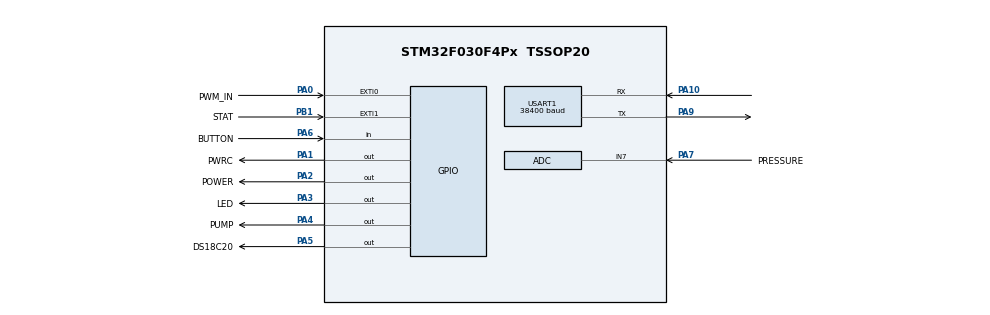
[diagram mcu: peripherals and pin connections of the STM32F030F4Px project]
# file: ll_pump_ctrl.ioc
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Mcu.Family=STM32F0
Dma.ADC.0.Mode=DMA_NORMAL
Dma.USART1_TX.1.MemInc=DMA_MINC_ENABLE
USART1.BaudRate=38400
PA0.GPIO_Label=PWM_IN
Dma.ADC.0.Priority=DMA_PRIORITY_LOW
VP_RTC_VS_RTC_Activate.Mode=RTC_Enabled
PA6.GPIO_Label=BUTTON
PA5.PinState=GPIO_PIN_SET
RCC.SYSCLKSource=RCC_SYSCLKSOURCE_PLLCLK
ProjectManager.StackSize=0x400
RTC.SynchPrediv=399
Dma.ADC.0.PeriphInc=DMA_PINC_DISABLE
RCC.HCLKFreq_Value=48000000
PB1.GPIO_ModeDefaultEXTI=GPIO_MODE_IT_RISING_FALLING
RCC.AHBFreq_Value=48000000
Dma.ADC.0.Direction=DMA_PERIPH_TO_MEMORY
ADC.SamplingTime=ADC_SAMPLETIME_71CYCLES_5
RCC.PLLMUL=RCC_PLL_MUL12
PA6.GPIO_PuPd=GPIO_PULLUP
RTC.Month=RTC_MONTH_DECEMBER
PA14.Mode=Serial_Wire
PB1.GPIO_Label=STAT
RTC.AsynchPrediv=99
Dma.USART1_TX.1.PeriphDataAlignment=DMA_PDATAALIGN_BYTE
PA0.Signal=GPXTI0
Dma.ADC.0.MemInc=DMA_MINC_ENABLE
Mcu.Package=TSSOP20
PB1.Signal=GPXTI1
PA6.Signal=GPIO_Input
PA2.GPIO_Label=POWER
Dma.ADC.0.Instance=DMA1_Channel1
PA10.Signal=USART1_RX
VP_RTC_VS_RTC_Calendar.Mode=RTC_Calendar
Dma.ADC.0.MemDataAlignment=DMA_MDATAALIGN_HALFWORD
TIM16.AutoReloadPreload=TIM_AUTORELOAD_PRELOAD_ENABLE
Dma.Request1=USART1_TX
RCC.APB1TimFreq_Value=48000000
Dma.USART1_TX.1.Priority=DMA_PRIORITY_LOW
TIM16.Prescaler=47
NVIC.USART1_IRQn=true\:0\:0\:false\:false\:true\:true\:true
Dma.Request0=ADC
PA4.GPIO_Label=PUMP
PA3.Signal=GPIO_Output
Dma.USART1_TX.1.Direction=DMA_MEMORY_TO_PERIPH
Dma.USART1_TX.1.Instance=DMA1_Channel2
PA7.Mode=IN7
PA10.Mode=Asynchronous
VP_ADC_Vref_Input.Mode=IN-Vrefint
VP_TIM16_VS_ClockSourceINT.Mode=Enable_Timer
Dma.ADC.0.PeriphDataAlignment=DMA_PDATAALIGN_HALFWORD
USART1.VirtualMode-Asynchronous=VM_ASYNC
PA13.Signal=SYS_SWDIO
PA9.Mode=Asynchronous
ProjectManager.TargetToolchain=Makefile
RTC.Year=20
PA9.Signal=USART1_TX
PA1.Signal=GPIO_Output
PA5.Signal=GPIO_Output
Dma.USART1_TX.1.MemDataAlignment=DMA_MDATAALIGN_BYTE
board=custom
PA5.GPIO_ModeDefaultOutputPP=GPIO_MODE_OUTPUT_OD
PA1.GPIO_Label=PWRC
PA13.Mode=Serial_Wire
Mcu.Name=STM32F030F4Px
PA2.Signal=GPIO_Output
PA4.Signal=GPIO_Output
RCC.SYSCLKFreq_VALUE=48000000
RTC.Hours=12
PA7.GPIO_Label=PRESSURE
PA5.GPIO_Label=DS18C20
Dma.USART1_TX.1.Mode=DMA_NORMAL
PA14.Signal=SYS_SWCLK
ProjectManager.HeapSize=0x200
Dma.USART1_TX.1.PeriphInc=DMA_PINC_DISABLE
PA5.GPIO_Speed=GPIO_SPEED_FREQ_LOW
NVIC.DMA1_Channel2_3_IRQn=true\:0\:0\:false\:false\:true\:false\:true
NVIC.DMA1_Channel1_IRQn=true\:0\:0\:false\:false\:true\:false\:true
RCC.APB1Freq_Value=48000000
RTC.Date=10
PA3.GPIO_Label=LED
PA7.Signal=ADC_IN7
NVIC.EXTI0_1_IRQn=true\:0\:0\:false\:false\:true\:true\:true

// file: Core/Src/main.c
/* USER CODE BEGIN Header */
/**
  ******************************************************************************
  * @file           : main.c
  * @brief          : Main program body
  ******************************************************************************
  * @attention
  *
  * <h2><center>&copy; Copyright (c) 2020 STMicroelectronics.
  * All rights reserved.</center></h2>
  *
  * This software component is licensed by ST under BSD 3-Clause license,
  * the "License"; You may not use this file except in compliance with the
  * License. You may obtain a copy of the License at:
  *                        opensource.org/licenses/BSD-3-Clause
  *
  ******************************************************************************
  */
  /*
    Через BLE передается 5 пакетов:

      Текущее параметры системы:
        "0:M:UD:HHmmSS:VVVV\n"
        - режим, delta_on, delta_off(0..9), текущее время, VREF_CAL(mV)
        "1:IIii:HHMM:hhmm\n"
          - интервал (час., мин.), время начала паузы., время оконч. паузы

      Результаты измерений:
        "2:MM.mm:XX.xx:AA.aa\n"
          - температуры (.mm, .xx, .aa - десятичная часть, надо умножить на 0.25;)
        "3:VVVV:PPP:L:SS:DDD\n"
          - VREF_DATA(mV), давление, наличие блокировки,
            статус(hex), синхронный делитель RTC (399 +-),
        "4:P:HHMMSS:ME:XE:AE\n"
          - насос вкл./выкл, время последнего старта насоса,
           счетчики ошибок датчиков температуры

    Через BLE может приниматься пакет:
    "CCC:SMOD:[01]:HHmm" - режим 0/1 и интервал в часах и минутах для режима 1
    "CCC:NSET:HHMM:hhmm" - установить начало и конец ночной паузы.
    "CCC:LOCK:[012]" - 1 - остановить насос до night_end, 2 - до команды "CCC:LOCK:0"
    "CCC:DIFF:U:D" - установить разницу температур на вкл/выкл. (0..9).
    "CCC:SCLK:DDD" - установить предделитель RTC (399 +-)
    "CCC:TSET:HHmmSS" - установить время
    "CCC:DSET:YYMMDDW" - установить дату
  */
/* USER CODE END Header */
#include "main.h"
#include "flash.h"
#include "rtc.h"

/* USER CODE BEGIN Includes */
#include <stdlib.h>
#include <string.h>
#include <ctype.h>

//#include "ds18b20.h"
#include "ow_utils.h"
#include "rtc.h"
#include "flash.h"

/* USER CODE END Includes */

/* USER CODE BEGIN PD */
/*
JDY-16: CR, LF
JDY-08: no CR no LF
*/
//#define JDY08 1
#define JDY16   1

#define NUM_STAT_PACKS  5

//#define DEBUG_SET_SENSORS 1
//#define DEBUG_TEST_OUTPUT 1
//#define DEBUG_SET_BAUD    1

#define PUMP_ON()    LL_GPIO_SetOutputPin(PUMP_GPIO_Port, PUMP_Pin)
#define PUMP_OFF()   LL_GPIO_ResetOutputPin(PUMP_GPIO_Port, PUMP_Pin)

/* USER CODE END PD */

/* USER CODE BEGIN PV */

static uint8_t transmit = 0;
static uint8_t rxindex = 0;
static uint8_t flag_cmd = 0;
static uint8_t ble_connected = 0;
static uint8_t adc_scan_complete = 0;
static uint16_t pwm_count = 0;

char info_pack[NUM_STAT_PACKS][PACK_SZ] = { {0}, {0}, {0}, {0}, {0} };
char sndbuf[PACK_SZ];
char rxbuff[PACK_SZ * 2];
char cmdbuf[PACK_SZ];
uint16_t adc_buff[2];

myDevState dev_state =
  { .celsius_main = 0, .frac_main = 0, .err_curr_main = 0, .err_summ_main = 0,
    .celsius_aux = 0, .frac_aux = 0, .err_curr_aux = 0, .err_summ_aux = 0,
    .celsius_air = 0, .frac_air = 0, .err_curr_air = 0, .err_summ_air = 0,
    .pressure = 0, .vref_data = 0, .state = 0,
    .hour_last_start = 99, .minute_last_start = 0, .second_last_start = 0,
    .night = 0, .pump = 0 };

myDevSettings dev_settings =
  { .signature = CODES_SIGNATURE, .mode = 0,
    .interval_h = 3, .interval_m = 0,
    .delta_on = DELTA_ON, .delta_off = DELTA_OFF,
    .hour_off_begin = 23, .minute_off_begin = 15,
    .hour_off_end = 7, .minute_off_end = 15,
    .pump_lock = 0, .prescaler = 399, .reserv8_1 = 0x55, .reserv8_2 = 0xaa };

static uint32_t initHours = 12;
static uint32_t initMinutes = 0;
static uint32_t initSeconds = 0;

#define ADC_REPEAT_COUNT 6 // кол-во измерений
static uint16_t a_press[ADC_REPEAT_COUNT];
static uint16_t a_vref[ADC_REPEAT_COUNT];
static SensorData sens;

/* USER CODE END PV */

void SystemClock_Config(void);
static void MX_GPIO_Init(void);
static void MX_DMA_Init(void);
static void MX_ADC_Init(void);
static void MX_TIM16_Init(void);
static void MX_USART1_UART_Init(void);
static void MX_RTC_Init(void);
/* USER CODE BEGIN PFP */

void adc_dma_set(void);
void usart_dma_send(char *st);
uint16_t calc_mid(uint16_t * par, uint8_t plen);
uint8_t make_pack(uint8_t pack_num);
uint8_t calc_temp_frac(uint8_t frac);
void led_blink(uint8_t cnt);
void test_output(void);

/* USER CODE END PFP */

/* USER CODE BEGIN 0 */
// Команды BLE JDY-16
#ifdef JDY16
const char ble_baud[] = "AT+BAUD6\r\n"; // 38400
const char ble_name[] = "AT+NAMEPUMP-EAST\r\n";
const char ble_dis[]  = "AT+DISC\r\n";
#else
// JDY08
const char ble_baud[] = "AT+BOUD2"; // 38400
const char ble_name[] = "AT+NAMEPUMP-WEST";
const char ble_dis[]  = "AT+DISC";
#endif

const char cmd_smod[] = "SMOD";
const char cmd_nset[] = "NSET";
const char cmd_lock[] = "LOCK";
const char cmd_diff[] = "DIFF";
const char cmd_tset[] = "TSET";
const char cmd_dset[] = "DSET";
const char cmd_sclk[] = "SCLK";

const char c_delim[]  = ":";
const char c_lf[]  = "\n";
const char c_dot[]  = ".";

/* USER CODE END 0 */

int main(void)
{

  /* MCU Configuration--------------------------------------------------------*/

  /* Reset of all peripherals, Initializes the Flash interface and the Systick. */

  LL_APB1_GRP2_EnableClock(LL_APB1_GRP2_PERIPH_SYSCFG);
  LL_APB1_GRP1_EnableClock(LL_APB1_GRP1_PERIPH_PWR);

  /* System interrupt init*/

  /* Configure the system clock */
  SystemClock_Config();

  /* USER CODE BEGIN SysInit */
    // !!! trick to enable systick interrupt !!!
  CLEAR_BIT(SysTick->CTRL,SysTick_CTRL_TICKINT_Msk); // HAL_SuspendTick()
  LL_Init1msTick(48000000);
  SET_BIT(SysTick->CTRL,SysTick_CTRL_TICKINT_Msk);  // HAL_ResumeTick()

  // ?????? RCC_APB2ENR |=RCC_APB2ENR_SYSCFGCOMPEN; // тактирование SYSCFG
  /* USER CODE END SysInit */

  /* Initialize all configured peripherals */
  MX_GPIO_Init();
  MX_DMA_Init();
  MX_ADC_Init();
  MX_TIM16_Init();
  MX_USART1_UART_Init();
  // MX_RTC_Init();
  /* USER CODE BEGIN 2 */

  uint8_t fl_set = 0; // надо ли сохранять настройки во флеш

  LL_ADC_Enable(ADC1);

  LL_USART_DisableIT_RXNE(USART1);

  for (uint8_t j = 0; j < 5; j++)
  {
    LL_GPIO_SetOutputPin(LED_GPIO_Port, LED_Pin);
    for (uint16_t i = 0; i < 500; i++)
    {
      delay_us(1000);
    }
    LL_GPIO_ResetOutputPin(LED_GPIO_Port, LED_Pin);
    for (uint16_t i = 0; i < 500; i++)
    {
      delay_us(1000);
    }
  }

#ifdef DEBUG_SET_BAUD
  LL_GPIO_ResetOutputPin(PWRC_GPIO_Port, PWRC_Pin); // PWRC=0 - AT mode
  delay(500);
//  strcpy(sndbuf, ble_baud);
  strcpy(sndbuf, ble_name);
  usart_dma_send(sndbuf);
  delay(500);
#endif

  LL_GPIO_SetOutputPin(PWRC_GPIO_Port, PWRC_Pin); // PWRC=1

  LL_EXTI_EnableIT_0_31(LL_EXTI_LINE_1);

  LL_GPIO_SetOutputPin(POWER_GPIO_Port, POWER_Pin); // питание датчиков

#ifdef DEBUG_SET_SENSORS
  // set tH as sensor number 80,81,...
  if (OWFirst())
  {
    sens.tH = 80;
    sens.tL = 5;
    sens.config = 0x3f;
    do
    {
      //DS1820_write_EEPROM(&sens);
      OWWriteEEPROM(&sens);
      sens.tH++;
    } while (OWNext());
  }
#endif

  // читаем сохраненные параметры из флеш памяти
  uint32_t src_addr = (uint32_t)PARAMETERS_PAGE;
  uint16_t *dst_addr = (void *)&dev_settings;
  uint16_t sign = *(__IO uint16_t *)src_addr;
  if (sign == CODES_SIGNATURE)
  {
    for (uint16_t i = 0; i < (sizeof(myDevSettings) / 2 - 1); i++)
    {
      *dst_addr = *(__IO uint16_t *)src_addr;
      src_addr += 2;
      dst_addr++;
    }
  }
  else
  {
    fl_set = 1;
  }

  MX_RTC_Init();

  // постоянную блокировку оставляеем, временную сбрасываем
  if (dev_settings.pump_lock == 1)
  {
    dev_settings.pump_lock = 0;
    dev_state.state &= ~STAT_PROGRAN_LOCK;
    fl_set = 1;
  }
  else if (dev_settings.pump_lock == 2)
  {
    dev_state.state |= STAT_PROGRAN_LOCK;
  }

  // текущие параметры системы
  make_pack(0);
  make_pack(1);
  make_pack(2);
  make_pack(3);
  make_pack(4);

  /* USER CODE END 2 */

  /* Infinite loop */
  /* USER CODE BEGIN WHILE */
  while (1)
  {
    LL_GPIO_SetOutputPin(LED_GPIO_Port, LED_Pin); // начало измерений

    // Устанавливаем в статус отсутствие отклика от DS18B20
    dev_state.state |= (STAT_SENSOR_MAIN_ERR | STAT_SENSOR_AUX_ERR | STAT_SENSOR_AIR_ERR);
    if (OWFirst())
    {
      do
      {
        if (OWGetParams(MATCH_ROM_CMD, &sens))
        {
#ifdef DEBUG_TEST_OUTPUT
          test_output();
#endif
          if (sens.crc == sens.crc_calc) // КС совпала
          {
            switch(sens.tH)
            {
              case DS_BATT_MAIN:
                dev_state.celsius_main = sens.celsius;
                dev_state.frac_main = sens.frac;
                // обнуляем текущий счетчик ошибок
                dev_state.err_curr_main = 0;
                // есть отклик - снимаем ошибку в статусе
                dev_state.state &= ~STAT_SENSOR_MAIN_ERR;
                break;
              case DS_BATT_AUX:
                dev_state.celsius_aux = sens.celsius;
                dev_state.frac_aux = sens.frac;
                dev_state.err_curr_aux = 0;
                dev_state.state &= ~STAT_SENSOR_AUX_ERR;
                break;
              case DS_AIR:
                dev_state.celsius_air = sens.celsius;
                dev_state.frac_air = sens.frac;
                dev_state.err_curr_air = 0;
                dev_state.state &= ~STAT_SENSOR_AIR_ERR;
                break;
            }
          }
        }
      } while (OWNext());
    } // сканирование DS18B20 завершено

    // если какой-либо DS18B20 не ответил увеличиваем счетчики ошибок
    if (dev_state.state & STAT_SENSOR_MAIN_ERR)
    {
      dev_state.err_curr_main++;
      if (dev_state.err_summ_main < 99)
      {
        dev_state.err_summ_main++;
      }
    }
    if (dev_state.state & STAT_SENSOR_AUX_ERR)
    {
      dev_state.err_curr_aux++;
      if (dev_state.err_summ_aux < 99)
      {
        dev_state.err_summ_aux++;
      }
    }
    if (dev_state.state & STAT_SENSOR_AIR_ERR)
    {
      dev_state.err_curr_air++;
      if (dev_state.err_summ_air < 99)
      {
        dev_state.err_summ_air++;
      }
    }

    if (dev_state.state &
      (STAT_SENSOR_MAIN_ERR | STAT_SENSOR_AUX_ERR | STAT_SENSOR_AIR_ERR))
    {
      dev_state.state |= STAT_SENSORS_ERR;
    }
    else
    {
      dev_state.state &= ~STAT_SENSORS_ERR;
    }

    // ADC - опрос датчика давления и VREF
    for (uint8_t i = 0; i < ADC_REPEAT_COUNT; i++)
    {
      adc_dma_set();
      LL_ADC_REG_StartConversion(ADC1);
      while(!adc_scan_complete)
      {
        delay(5);
      }
      a_press[i] = adc_buff[0];
      a_vref[i] = adc_buff[1];
    }
    uint16_t vref_data = calc_mid(a_vref, ADC_REPEAT_COUNT);
    dev_state.vref_data = vref_data;
    uint16_t vref_mv = __LL_ADC_CALC_VREFANALOG_VOLTAGE(vref_data, LL_ADC_RESOLUTION_12B);
    uint16_t press_data = calc_mid(a_press, ADC_REPEAT_COUNT);
    dev_state.pressure =
        __LL_ADC_CALC_DATA_TO_VOLTAGE(vref_mv, press_data, LL_ADC_RESOLUTION_12B);

    LL_GPIO_ResetOutputPin(LED_GPIO_Port, LED_Pin); // конец измерений

    // Обработка езультатов измерений

    // оба датчика батарей выдали результаты?
    if ((dev_state.err_curr_main == 0) && (dev_state.err_curr_main == 0))
    {
      make_pack(2);
    }
    else // датчики батарей не ответили
    {
      if ((dev_state.err_curr_main > 2) || (dev_state.err_curr_aux > 2))
      {
        // датчики батарей не ответили больше 2-х раз подряд
        // отключаем насос
        PUMP_OFF();
        dev_state.pump = 0;
      }
    }

    // Проверяем изменения в системе
    // определяем переключение день/ночь
    uint8_t c_hour = (uint8_t)__LL_RTC_CONVERT_BCD2BIN(LL_RTC_TIME_GetHour(RTC));
    uint8_t c_min = (uint8_t)__LL_RTC_CONVERT_BCD2BIN(LL_RTC_TIME_GetMinute(RTC));
    uint8_t c_sec = (uint8_t)__LL_RTC_CONVERT_BCD2BIN(LL_RTC_TIME_GetSecond(RTC));

    if (dev_state.night == 0) // сейчас день
    {
      if ((c_hour >= dev_settings.hour_off_begin) &&
          (c_min >= dev_settings.minute_off_begin))
      {
        // перход в ночной режим
        dev_state.night = 1;
        dev_state.state |= STAT_NIGHT;
      }
    }
    else // сейчас ночь
    {
      if ((c_hour == dev_settings.hour_off_end) &&
        (c_min >= dev_settings.minute_off_end))
      {
        // окончание ночного режима по расписанию,
        dev_state.night = 0;
        dev_state.state &= ~STAT_NIGHT;
      }
    }

    // Действия в зависимости от результата (день/ночь)
    if (dev_state.night) // ночь
    {
      if (dev_state.pump)
      {
        PUMP_OFF();
        dev_state.pump = 0;
      }
      if (dev_settings.pump_lock == 1)
      {
        // при наступлении ночи блокировка типа 1 снимается
        dev_settings.pump_lock = 0;
        dev_state.state &= ~STAT_PROGRAN_LOCK;
        fl_set = 1;
      }
    }
    else // день
    {
      // проверяем условия включения/выключения насоса
      int16_t delta = dev_state.celsius_main - dev_state.celsius_aux;
      int16_t delta_f = dev_state.frac_main - dev_state.frac_aux;
      if (delta_f >= 8)
      {
        delta += 1;
      }
      else if (delta_f <= -8)
      {
        delta -= 1;
      }

      if (dev_state.pump) // насос включен
      {
        if ((dev_settings.pump_lock > 0 ) || (delta <= dev_settings.delta_off))
        {
          // при блокировке или
          // при выравнивании температур батарей - выключаем
          PUMP_OFF();
          dev_state.pump = 0;
        }
      }
      else // насос не включен
      {
        if (dev_settings.pump_lock == 0) // включаем только при отсутствии блокировки
        {
          if (dev_settings.mode == 0) // - по разности температур
          {
            if (delta >= dev_settings.delta_on)
            {
              dev_state.hour_last_start = c_hour;
              dev_state.minute_last_start = c_min;
              dev_state.second_last_start = c_sec;
              PUMP_ON();
              dev_state.pump = 1;
            }
          }
          else // mode == 1 - по расписанию
          {
            if (dev_state.hour_last_start == 99)
            {
              // еще не включался, время последнего запуска не установлено
              dev_state.hour_last_start = c_hour;
              dev_state.minute_last_start = c_min;
              dev_state.second_last_start = c_sec;
              PUMP_ON();
              dev_state.pump = 1;
            }
            else
            {
              // уже был запуск по расписанию
              int16_t h = c_hour - dev_state.hour_last_start;
              if (h < 0)
              {
                h = c_hour + 24 - dev_state.hour_last_start;
              }
              int16_t m = c_min - dev_state.minute_last_start;
              if (m < 0)
              {
                m = c_min + 60 - dev_state.minute_last_start;
              }

              if ((h >= dev_settings.interval_h) && (m >= dev_settings.interval_m))
              {
                // включаем по расписанию
                dev_state.hour_last_start = c_hour;
                dev_state.minute_last_start = c_min;
                dev_state.second_last_start = c_sec;
                PUMP_ON();
                dev_state.pump = 1;
              }
            }
          } // по расписанию
        } // dev_settings.pump_lock == 0
      } // не был включен
    } // день/ночь

    // остальные измерения
    make_pack(3);
    // ошибки bs18b20
    make_pack(4);

    delay(200);
    if (dev_settings.pump_lock == 2)
    {
      led_blink(2);
    }
    else if (dev_settings.pump_lock == 1)
    {
      led_blink(1);
    }

    // пауза до 10 сек с проверкой поступления команды и нажатия кнопки
    uint8_t wcnt = 50; // 10 сек
    uint8_t btn_lock = 0;

    if (ble_connected)
    {
      wcnt = 10; // сокращаем паузу до 2 сек
    }
    while (!flag_cmd && !btn_lock && (wcnt-- > 0))
    {
      if (!LL_GPIO_IsInputPinSet(BUTTON_GPIO_Port, BUTTON_Pin))
      {
        btn_lock = 1;
      }
      delay(200);
    }

    if (btn_lock) // было нажатие кнопки?
    {
      // по нажатию кнопки - блокировка/разблокировка насоса
      if (dev_settings.pump_lock == 2)
      {
        dev_settings.pump_lock = 0;
        dev_state.state &= ~STAT_PROGRAN_LOCK;
      }
      else
      {
        dev_settings.pump_lock = 2;
        dev_state.state |= STAT_PROGRAN_LOCK;
      }
      fl_set = 1;
      btn_lock = 0;
      delay(1000);
    }

    if (flag_cmd) // получен пакет из BLE
    {
      char *token, *ptr;
      char strt[24];
      char st1[4];

      uint8_t ii = 0;
      while ((cmdbuf[ii] != '\0') && (cmdbuf[ii] != '\n')
        && (cmdbuf[ii] != '\r') && (ii < 24) )
      {
        strt[ii] = toupper(cmdbuf[ii]); // копируем с переводом в верхний регистр
        ii++;
      }
      strt[ii] = '\0';

      ptr = strt;
      uint8_t cmd_num = 0;

      token = strsep(&ptr, ":");
      if ( (token != NULL) && (strstr(token, "CC") != NULL))  // есть команда
      {
        token = strsep(&ptr, ":");  // команда
        if (token != NULL)
        {
          if (strcmp(token, cmd_smod) == 0)
          {
            cmd_num = 1;
          }
          else if (strcmp(token, cmd_nset) == 0)
          {
            cmd_num = 2;
          }
          else if (strcmp(token, cmd_lock) == 0)
          {
            cmd_num = 3;
          }
          else if (strcmp(token, cmd_diff) == 0)
          {
            cmd_num = 4;
          }
          else if (strcmp(token, cmd_tset) == 0)
          {
            cmd_num = 5;
          }
          else if (strcmp(token, cmd_dset) == 0)
          {
            cmd_num = 6;
          }
          else if (strcmp(token, cmd_sclk) == 0)
          {
            cmd_num = 7;
          }

          uint8_t par = 0;
          uint16_t par16 = 0;

          if (cmd_num > 0)
          {
            token = strsep(&ptr, ":"); // 1-й параметр
            if (token != NULL)
            {
              switch(cmd_num)
              {
              case 1: // "CCC:SMOD:[01]:HHmm"
                par = atoi(token); // 0, 1
                if (par == 0) // при par == 0 2-й параметр не нужен
                {
                  if (dev_settings.mode > 0)
                  {
                    dev_settings.mode = par;
                    fl_set = 1;
                  }
                }
                else if (par == 1)
                {
                  token = strsep(&ptr, ":"); // 2-й параметр - интервал(HHmm)
                  if ((token != NULL) && (strlen(token) == 4))
                  {
                    strncpy(st1, token, 2);
                    st1[2] = '\0';
                    dev_settings.interval_h = atoi(st1);
                    strncpy(st1, &token[2], 2);
                    st1[2] = '\0';
                    dev_settings.interval_m = atoi(st1);
                    dev_settings.mode = par;
                    fl_set = 1;
                  }
                }
                break;
              case 2: // "CCC:NSET:HHMM:hhmm"
                if ((strlen(token) == 4))
                {
                  strncpy(st1, token, 2); // 1-й параметр(HHMM)
                  st1[2] = '\0';
                  dev_settings.hour_off_begin = atoi(st1);
                  strncpy(st1, &token[2], 2);
                  st1[2] = '\0';
                  dev_settings.minute_off_begin = atoi(st1);
                }
                token = strsep(&ptr, ":");
                if ((token != NULL) && (strlen(token) == 4))
                {
                  strncpy(st1, token, 2); // 2-й параметр(hhmm)
                  st1[2] = '\0';
                  dev_settings.hour_off_end = atoi(st1);
                  strncpy(st1, &token[2], 2);
                  st1[2] = '\0';
                  dev_settings.minute_off_end = atoi(st1);
                }
                fl_set = 1;
                break;
              case 3: // "CCC:LOCK:[012]"
                par = atoi(token);
                if (par < 3)
                {
                  dev_settings.pump_lock = par;
                  dev_state.state &= ~STAT_PROGRAN_LOCK;
                  if (par == 1)
                  {
                    dev_state.state |= STAT_PROGRAN_LOCK;
                  }
                  else if (par == 2)
                  {
                    dev_state.state |= STAT_PROGRAN_LOCK;
                  }
                  fl_set = 1;
                }
                break;
              case 4: // "CCC:DIFF:U:D"
                par = atoi(token);
                if ((par > 0) && (par <= 9))  // 1..9 градусов
                {
                  dev_settings.delta_on = par;
                }
                token = strsep(&ptr, ":");
                if (token != NULL)
                {
                  par = atoi(token);
                  if ((par > 0) && (par <= 9))  // 1..9 градусов
                  {
                    dev_settings.delta_off = par;
                  }
                }
                fl_set = 1;
                break;
              case 5: // "CCC:TSET:HHmmSS"
                if (strlen(token) == 6)
                {
                  RTC_set_time_from_st(token);
                }
                // заодно обнуляем счетчики ошибок
                dev_state.err_summ_main = 0;
                dev_state.err_summ_aux = 0;
                dev_state.err_summ_air = 0;
                break;
              case 6: // "CCC:DSET:YYMMDDW" - дата пока не нужна
                if (strlen(token) == 7)
                {
                  RTS_set_date_from_st(token);
                }
                break;
              case 7: // "CCC:SCLK:DDD"
                par16 = atoi(token);
                if ((par16 >= 360) && (par16 <= 440))
                {
                  initHours = LL_RTC_TIME_GetHour(RTC);
                  initMinutes = LL_RTC_TIME_GetMinute(RTC);
                  initSeconds = LL_RTC_TIME_GetSecond(RTC);
                  dev_settings.prescaler = (uint32_t)par16;
                  MX_RTC_Init();
                  fl_set = 1;
                }
                break;
              }
            }
          }
        }
      }
      flag_cmd = 0;
    } // конец обработки команды

    if (fl_set) // сохранять параметры
    {
      save_parameters_to_flash((uint16_t *)&dev_settings,
        sizeof(myDevSettings) / 2 - 1);
      make_pack(1);
      fl_set = 0;
    }

    make_pack(0);

    while(transmit) {};
    uint8_t np = 0;
    while (ble_connected && (np < NUM_STAT_PACKS))
    {
      strcpy(sndbuf, info_pack[np++]);
      usart_dma_send(sndbuf);
      delay(200);
      while(transmit) {};
    }

    /* USER CODE END WHILE */

  }
}

void SystemClock_Config(void)
{
  LL_FLASH_SetLatency(LL_FLASH_LATENCY_1);
  while(LL_FLASH_GetLatency() != LL_FLASH_LATENCY_1)
  {
  }
  LL_RCC_HSI_Enable();

   /* Wait till HSI is ready */
  while(LL_RCC_HSI_IsReady() != 1)
  {

  }
  LL_RCC_HSI_SetCalibTrimming(16);
  LL_RCC_HSI14_Enable();

   /* Wait till HSI14 is ready */
  while(LL_RCC_HSI14_IsReady() != 1)
  {

  }
  LL_RCC_HSI14_SetCalibTrimming(16);
  LL_RCC_LSI_Enable();

   /* Wait till LSI is ready */
  while(LL_RCC_LSI_IsReady() != 1)
  {

  }
  LL_PWR_EnableBkUpAccess();
  if(LL_RCC_GetRTCClockSource() != LL_RCC_RTC_CLKSOURCE_LSI)
  {
    LL_RCC_ForceBackupDomainReset();
    LL_RCC_ReleaseBackupDomainReset();
    LL_RCC_SetRTCClockSource(LL_RCC_RTC_CLKSOURCE_LSI);
  }
  LL_RCC_EnableRTC();
  LL_RCC_PLL_ConfigDomain_SYS(LL_RCC_PLLSOURCE_HSI_DIV_2, LL_RCC_PLL_MUL_12);
  LL_RCC_PLL_Enable();

   /* Wait till PLL is ready */
  while(LL_RCC_PLL_IsReady() != 1)
  {

  }
  LL_RCC_SetAHBPrescaler(LL_RCC_SYSCLK_DIV_1);
  LL_RCC_SetAPB1Prescaler(LL_RCC_APB1_DIV_1);
  LL_RCC_SetSysClkSource(LL_RCC_SYS_CLKSOURCE_PLL);

   /* Wait till System clock is ready */
  while(LL_RCC_GetSysClkSource() != LL_RCC_SYS_CLKSOURCE_STATUS_PLL)
  {

  }
  LL_Init1msTick(48000000);
  LL_SetSystemCoreClock(48000000);
  LL_RCC_HSI14_EnableADCControl();
  LL_RCC_SetUSARTClockSource(LL_RCC_USART1_CLKSOURCE_PCLK1);
}

static void MX_ADC_Init(void)
{

  LL_ADC_InitTypeDef ADC_InitStruct = {0};
  LL_ADC_REG_InitTypeDef ADC_REG_InitStruct = {0};

  LL_GPIO_InitTypeDef GPIO_InitStruct = {0};

  /* Peripheral clock enable */
  LL_APB1_GRP2_EnableClock(LL_APB1_GRP2_PERIPH_ADC1);

  LL_AHB1_GRP1_EnableClock(LL_AHB1_GRP1_PERIPH_GPIOA);
  /**ADC GPIO Configuration
  PA7   ------> ADC_IN7
  */
  GPIO_InitStruct.Pin = PRESSURE_Pin;
  GPIO_InitStruct.Mode = LL_GPIO_MODE_ANALOG;
  GPIO_InitStruct.Pull = LL_GPIO_PULL_NO;
  LL_GPIO_Init(PRESSURE_GPIO_Port, &GPIO_InitStruct);

  /* ADC DMA Init */

  /* ADC Init */
  LL_DMA_SetDataTransferDirection(DMA1, LL_DMA_CHANNEL_1, LL_DMA_DIRECTION_PERIPH_TO_MEMORY);

  LL_DMA_SetChannelPriorityLevel(DMA1, LL_DMA_CHANNEL_1, LL_DMA_PRIORITY_LOW);

  LL_DMA_SetMode(DMA1, LL_DMA_CHANNEL_1, LL_DMA_MODE_NORMAL);

  LL_DMA_SetPeriphIncMode(DMA1, LL_DMA_CHANNEL_1, LL_DMA_PERIPH_NOINCREMENT);

  LL_DMA_SetMemoryIncMode(DMA1, LL_DMA_CHANNEL_1, LL_DMA_MEMORY_INCREMENT);

  LL_DMA_SetPeriphSize(DMA1, LL_DMA_CHANNEL_1, LL_DMA_PDATAALIGN_HALFWORD);

  LL_DMA_SetMemorySize(DMA1, LL_DMA_CHANNEL_1, LL_DMA_MDATAALIGN_HALFWORD);

  /** Configure Regular Channel
  */
  LL_ADC_REG_SetSequencerChAdd(ADC1, LL_ADC_CHANNEL_7);
  /** Configure Regular Channel
  */
  LL_ADC_REG_SetSequencerChAdd(ADC1, LL_ADC_CHANNEL_VREFINT);
  /** Configure Internal Channel
  */
  LL_ADC_SetCommonPathInternalCh(__LL_ADC_COMMON_INSTANCE(ADC1), LL_ADC_PATH_INTERNAL_VREFINT);
  /** Configure the global features of the ADC (Clock, Resolution, Data Alignment and number of conversion)
  */
  ADC_InitStruct.Clock = LL_ADC_CLOCK_ASYNC;
  ADC_InitStruct.Resolution = LL_ADC_RESOLUTION_12B;
  ADC_InitStruct.DataAlignment = LL_ADC_DATA_ALIGN_RIGHT;
  ADC_InitStruct.LowPowerMode = LL_ADC_LP_MODE_NONE;
  LL_ADC_Init(ADC1, &ADC_InitStruct);
  ADC_REG_InitStruct.TriggerSource = LL_ADC_REG_TRIG_SOFTWARE;
  ADC_REG_InitStruct.SequencerDiscont = LL_ADC_REG_SEQ_DISCONT_DISABLE;
  ADC_REG_InitStruct.ContinuousMode = LL_ADC_REG_CONV_SINGLE;
  ADC_REG_InitStruct.DMATransfer = LL_ADC_REG_DMA_TRANSFER_LIMITED;
  ADC_REG_InitStruct.Overrun = LL_ADC_REG_OVR_DATA_PRESERVED;
  LL_ADC_REG_Init(ADC1, &ADC_REG_InitStruct);
  LL_ADC_REG_SetSequencerScanDirection(ADC1, LL_ADC_REG_SEQ_SCAN_DIR_FORWARD);
  LL_ADC_SetSamplingTimeCommonChannels(ADC1, LL_ADC_SAMPLINGTIME_71CYCLES_5);
  /* USER CODE BEGIN ADC_Init 2 */

  uint32_t wait_loop_index = ((LL_ADC_DELAY_CALIB_ENABLE_ADC_CYCLES * 32) >> 1);
  while(wait_loop_index != 0)
  {
    wait_loop_index--;
  }
  LL_ADC_StartCalibration(ADC1);
  while (LL_ADC_IsCalibrationOnGoing(ADC1) != 0) {}

  /* USER CODE END ADC_Init 2 */

}

static void MX_RTC_Init(void)
{

  LL_RTC_InitTypeDef RTC_InitStruct = {0};
  LL_RTC_TimeTypeDef RTC_TimeStruct = {0};
  LL_RTC_DateTypeDef RTC_DateStruct = {0};

  /* Peripheral clock enable */
  LL_RCC_EnableRTC();

  /** Initialize RTC and set the Time and Date
  */
  RTC_InitStruct.HourFormat = LL_RTC_HOURFORMAT_24HOUR;
  RTC_InitStruct.AsynchPrescaler = 99;
  RTC_InitStruct.SynchPrescaler = dev_settings.prescaler; // 399 - default
  LL_RTC_Init(RTC, &RTC_InitStruct);
  LL_RTC_SetAsynchPrescaler(RTC, 99);
  LL_RTC_SetSynchPrescaler(RTC, dev_settings.prescaler); // 399 - default
  /** Initialize RTC and set the Time and Date
  */
  RTC_TimeStruct.Hours = initHours;
  RTC_TimeStruct.Minutes = initMinutes;
  RTC_TimeStruct.Seconds = initSeconds;
  LL_RTC_TIME_Init(RTC, LL_RTC_FORMAT_BCD, &RTC_TimeStruct);
  RTC_DateStruct.WeekDay = LL_RTC_WEEKDAY_MONDAY;
  RTC_DateStruct.Month = LL_RTC_MONTH_DECEMBER;
  RTC_DateStruct.Year = 20;
  LL_RTC_DATE_Init(RTC, LL_RTC_FORMAT_BCD, &RTC_DateStruct);

}

static void MX_TIM16_Init(void)
{

  LL_TIM_InitTypeDef TIM_InitStruct = {0};

  /* Peripheral clock enable */
  LL_APB1_GRP2_EnableClock(LL_APB1_GRP2_PERIPH_TIM16);

  TIM_InitStruct.Prescaler = 47;
  TIM_InitStruct.CounterMode = LL_TIM_COUNTERMODE_UP;
  TIM_InitStruct.Autoreload = 65535;
  TIM_InitStruct.ClockDivision = LL_TIM_CLOCKDIVISION_DIV1;
  TIM_InitStruct.RepetitionCounter = 0;
  LL_TIM_Init(TIM16, &TIM_InitStruct);
  LL_TIM_EnableARRPreload(TIM16);

}

static void MX_USART1_UART_Init(void)
{

  LL_USART_InitTypeDef USART_InitStruct = {0};

  LL_GPIO_InitTypeDef GPIO_InitStruct = {0};

  /* Peripheral clock enable */
  LL_APB1_GRP2_EnableClock(LL_APB1_GRP2_PERIPH_USART1);

  LL_AHB1_GRP1_EnableClock(LL_AHB1_GRP1_PERIPH_GPIOA);
  /**USART1 GPIO Configuration
  PA9   ------> USART1_TX
  PA10   ------> USART1_RX
  */
  GPIO_InitStruct.Pin = LL_GPIO_PIN_9;
  GPIO_InitStruct.Mode = LL_GPIO_MODE_ALTERNATE;
  GPIO_InitStruct.Speed = LL_GPIO_SPEED_FREQ_HIGH;
  GPIO_InitStruct.OutputType = LL_GPIO_OUTPUT_PUSHPULL;
  GPIO_InitStruct.Pull = LL_GPIO_PULL_NO;
  GPIO_InitStruct.Alternate = LL_GPIO_AF_1;
  LL_GPIO_Init(GPIOA, &GPIO_InitStruct);

  GPIO_InitStruct.Pin = LL_GPIO_PIN_10;
  GPIO_InitStruct.Mode = LL_GPIO_MODE_ALTERNATE;
  GPIO_InitStruct.Speed = LL_GPIO_SPEED_FREQ_HIGH;
  GPIO_InitStruct.OutputType = LL_GPIO_OUTPUT_PUSHPULL;
  GPIO_InitStruct.Pull = LL_GPIO_PULL_NO;
  GPIO_InitStruct.Alternate = LL_GPIO_AF_1;
  LL_GPIO_Init(GPIOA, &GPIO_InitStruct);

  /* USART1 DMA Init */

  /* USART1_TX Init */
  LL_DMA_SetDataTransferDirection(DMA1, LL_DMA_CHANNEL_2, LL_DMA_DIRECTION_MEMORY_TO_PERIPH);

  LL_DMA_SetChannelPriorityLevel(DMA1, LL_DMA_CHANNEL_2, LL_DMA_PRIORITY_LOW);

  LL_DMA_SetMode(DMA1, LL_DMA_CHANNEL_2, LL_DMA_MODE_NORMAL);

  LL_DMA_SetPeriphIncMode(DMA1, LL_DMA_CHANNEL_2, LL_DMA_PERIPH_NOINCREMENT);

  LL_DMA_SetMemoryIncMode(DMA1, LL_DMA_CHANNEL_2, LL_DMA_MEMORY_INCREMENT);

  LL_DMA_SetPeriphSize(DMA1, LL_DMA_CHANNEL_2, LL_DMA_PDATAALIGN_BYTE);

  LL_DMA_SetMemorySize(DMA1, LL_DMA_CHANNEL_2, LL_DMA_MDATAALIGN_BYTE);

  /* USART1 interrupt Init */
  NVIC_SetPriority(USART1_IRQn, 0);
  NVIC_EnableIRQ(USART1_IRQn);

  USART_InitStruct.BaudRate = 38400;
  USART_InitStruct.DataWidth = LL_USART_DATAWIDTH_8B;
  USART_InitStruct.StopBits = LL_USART_STOPBITS_1;
  USART_InitStruct.Parity = LL_USART_PARITY_NONE;
  USART_InitStruct.TransferDirection = LL_USART_DIRECTION_TX_RX;
  USART_InitStruct.HardwareFlowControl = LL_USART_HWCONTROL_NONE;
  USART_InitStruct.OverSampling = LL_USART_OVERSAMPLING_16;
  LL_USART_Init(USART1, &USART_InitStruct);
  LL_USART_DisableIT_CTS(USART1);
  LL_USART_ConfigAsyncMode(USART1);
  LL_USART_Enable(USART1);
  /* USER CODE BEGIN USART1_Init 2 */
  LL_USART_EnableIT_RXNE(USART1);
  LL_USART_DisableIT_TXE(USART1);
  LL_USART_DisableIT_TC(USART1);
  /* USER CODE END USART1_Init 2 */

}

static void MX_DMA_Init(void)
{

  /* Init with LL driver */
  /* DMA controller clock enable */
  LL_AHB1_GRP1_EnableClock(LL_AHB1_GRP1_PERIPH_DMA1);

  /* DMA interrupt init */
  /* DMA1_Channel1_IRQn interrupt configuration */
  NVIC_SetPriority(DMA1_Channel1_IRQn, 0);
  NVIC_EnableIRQ(DMA1_Channel1_IRQn);
  /* DMA1_Channel2_3_IRQn interrupt configuration */
  NVIC_SetPriority(DMA1_Channel2_3_IRQn, 0);
  NVIC_EnableIRQ(DMA1_Channel2_3_IRQn);

}

static void MX_GPIO_Init(void)
{
  LL_EXTI_InitTypeDef EXTI_InitStruct = {0};
  LL_GPIO_InitTypeDef GPIO_InitStruct = {0};

  /* GPIO Ports Clock Enable */
  LL_AHB1_GRP1_EnableClock(LL_AHB1_GRP1_PERIPH_GPIOA);
  LL_AHB1_GRP1_EnableClock(LL_AHB1_GRP1_PERIPH_GPIOB);

  /**/
  LL_GPIO_ResetOutputPin(PWRC_GPIO_Port, PWRC_Pin);

  /**/
  LL_GPIO_ResetOutputPin(POWER_GPIO_Port, POWER_Pin);

  /**/
  LL_GPIO_ResetOutputPin(LED_GPIO_Port, LED_Pin);

  /**/
  LL_GPIO_ResetOutputPin(PUMP_GPIO_Port, PUMP_Pin);

  /**/
  LL_GPIO_SetOutputPin(DS18C20_GPIO_Port, DS18C20_Pin);

  /**/
  LL_SYSCFG_SetEXTISource(LL_SYSCFG_EXTI_PORTA, LL_SYSCFG_EXTI_LINE0);

  /**/
  LL_SYSCFG_SetEXTISource(LL_SYSCFG_EXTI_PORTB, LL_SYSCFG_EXTI_LINE1);

  /**/
  LL_GPIO_SetPinPull(PWM_IN_GPIO_Port, PWM_IN_Pin, LL_GPIO_PULL_NO);

  /**/
  LL_GPIO_SetPinPull(STAT_GPIO_Port, STAT_Pin, LL_GPIO_PULL_NO);

  /**/
  LL_GPIO_SetPinMode(PWM_IN_GPIO_Port, PWM_IN_Pin, LL_GPIO_MODE_INPUT);

  /**/
  LL_GPIO_SetPinMode(STAT_GPIO_Port, STAT_Pin, LL_GPIO_MODE_INPUT);

  /**/
  EXTI_InitStruct.Line_0_31 = LL_EXTI_LINE_0;
  EXTI_InitStruct.LineCommand = ENABLE;
  EXTI_InitStruct.Mode = LL_EXTI_MODE_IT;
  EXTI_InitStruct.Trigger = LL_EXTI_TRIGGER_RISING;
  LL_EXTI_Init(&EXTI_InitStruct);

  /**/
  EXTI_InitStruct.Line_0_31 = LL_EXTI_LINE_1;
  EXTI_InitStruct.LineCommand = ENABLE;
  EXTI_InitStruct.Mode = LL_EXTI_MODE_IT;
  EXTI_InitStruct.Trigger = LL_EXTI_TRIGGER_RISING_FALLING;
  LL_EXTI_Init(&EXTI_InitStruct);

  /**/
  GPIO_InitStruct.Pin = PWRC_Pin;
  GPIO_InitStruct.Mode = LL_GPIO_MODE_OUTPUT;
  GPIO_InitStruct.Speed = LL_GPIO_SPEED_FREQ_LOW;
  GPIO_InitStruct.OutputType = LL_GPIO_OUTPUT_PUSHPULL;
  GPIO_InitStruct.Pull = LL_GPIO_PULL_NO;
  LL_GPIO_Init(PWRC_GPIO_Port, &GPIO_InitStruct);

  /**/
  GPIO_InitStruct.Pin = POWER_Pin;
  GPIO_InitStruct.Mode = LL_GPIO_MODE_OUTPUT;
  GPIO_InitStruct.Speed = LL_GPIO_SPEED_FREQ_LOW;
  GPIO_InitStruct.OutputType = LL_GPIO_OUTPUT_PUSHPULL;
  GPIO_InitStruct.Pull = LL_GPIO_PULL_NO;
  LL_GPIO_Init(POWER_GPIO_Port, &GPIO_InitStruct);

  /**/
  GPIO_InitStruct.Pin = LED_Pin;
  GPIO_InitStruct.Mode = LL_GPIO_MODE_OUTPUT;
  GPIO_InitStruct.Speed = LL_GPIO_SPEED_FREQ_LOW;
  GPIO_InitStruct.OutputType = LL_GPIO_OUTPUT_PUSHPULL;
  GPIO_InitStruct.Pull = LL_GPIO_PULL_NO;
  LL_GPIO_Init(LED_GPIO_Port, &GPIO_InitStruct);

  /**/
  GPIO_InitStruct.Pin = PUMP_Pin;
  GPIO_InitStruct.Mode = LL_GPIO_MODE_OUTPUT;
  GPIO_InitStruct.Speed = LL_GPIO_SPEED_FREQ_LOW;
  GPIO_InitStruct.OutputType = LL_GPIO_OUTPUT_PUSHPULL;
  GPIO_InitStruct.Pull = LL_GPIO_PULL_NO;
  LL_GPIO_Init(PUMP_GPIO_Port, &GPIO_InitStruct);

  /**/
  GPIO_InitStruct.Pin = DS18C20_Pin;
  GPIO_InitStruct.Mode = LL_GPIO_MODE_OUTPUT;
  GPIO_InitStruct.Speed = LL_GPIO_SPEED_FREQ_LOW;
  GPIO_InitStruct.OutputType = LL_GPIO_OUTPUT_OPENDRAIN;
  GPIO_InitStruct.Pull = LL_GPIO_PULL_NO;
  LL_GPIO_Init(DS18C20_GPIO_Port, &GPIO_InitStruct);

  /**/
  GPIO_InitStruct.Pin = BUTTON_Pin;
  GPIO_InitStruct.Mode = LL_GPIO_MODE_INPUT;
  GPIO_InitStruct.Pull = LL_GPIO_PULL_UP;
  LL_GPIO_Init(BUTTON_GPIO_Port, &GPIO_InitStruct);

  /* EXTI interrupt init*/
  NVIC_SetPriority(EXTI0_1_IRQn, 0);
  NVIC_EnableIRQ(EXTI0_1_IRQn);

}

/* USER CODE BEGIN 4 */
void usart_dma_send(char * buf) //(uint32_t)buf strlen(buf)
{
  LL_DMA_SetDataTransferDirection(DMA1, LL_DMA_CHANNEL_2, LL_DMA_DIRECTION_MEMORY_TO_PERIPH);
  LL_DMA_SetChannelPriorityLevel(DMA1, LL_DMA_CHANNEL_2, LL_DMA_PRIORITY_LOW);
  LL_DMA_SetMode(DMA1, LL_DMA_CHANNEL_2, LL_DMA_MODE_NORMAL);
  LL_DMA_SetPeriphIncMode(DMA1, LL_DMA_CHANNEL_2, LL_DMA_PERIPH_NOINCREMENT);
  LL_DMA_SetMemoryIncMode(DMA1, LL_DMA_CHANNEL_2, LL_DMA_MEMORY_INCREMENT);
  LL_DMA_SetPeriphSize(DMA1, LL_DMA_CHANNEL_2, LL_DMA_PDATAALIGN_BYTE);
  LL_DMA_SetMemorySize(DMA1, LL_DMA_CHANNEL_2, LL_DMA_MDATAALIGN_BYTE);
  LL_DMA_SetMemoryAddress(DMA1, LL_DMA_CHANNEL_2, (uint32_t)buf);
  LL_DMA_SetPeriphAddress(DMA1, LL_DMA_CHANNEL_2, (uint32_t)&USART1->TDR);
  LL_DMA_SetDataLength(DMA1, LL_DMA_CHANNEL_2, (uint32_t)strlen(buf));

  //  dma_enable_transfer_complete_interrupt(DMA1, DMA_CHANNEL2);
  LL_DMA_EnableIT_TC(DMA1, LL_DMA_CHANNEL_2);
  //  dma_enable_channel(DMA1, DMA_CHANNEL2);
  LL_DMA_EnableChannel(DMA1, LL_DMA_CHANNEL_2);
  //  usart_enable_tx_dma(USART1);
  LL_USART_EnableDMAReq_TX(USART1);

  transmit = 1;
}

// usart1 dma interrupt
void dma1_channel2_callback(void)
{
    if (LL_DMA_IsActiveFlag_TC2(DMA1))
    {
        LL_DMA_ClearFlag_TC2(DMA1);
    }
    //dma_disable_transfer_complete_interrupt(DMA1, DMA_CHANNEL2);
    LL_DMA_DisableIT_TC(DMA1, LL_DMA_CHANNEL_2);
    //usart_disable_tx_dma(USART1);
    LL_USART_DisableDMAReq_TX(USART1);
    //dma_disable_channel(DMA1, DMA_CHANNEL2);
    LL_DMA_DisableChannel(DMA1, LL_DMA_CHANNEL_2);

    transmit = 0;

}

void usart1_isr_callback(void)
{
  char data;
  // если не сбросиить ошибку переполнения - задолбает прерываниями!
  //tmp = USART1->CR1;
  if (LL_USART_IsActiveFlag_ORE(USART1))
  {
    data = LL_USART_ReceiveData8(USART1);
    LL_USART_ClearFlag_ORE(USART1);
  }

  if (LL_USART_IsEnabledIT_RXNE(USART1) &&
            LL_USART_IsActiveFlag_RXNE(USART1))
  {
    data = LL_USART_ReceiveData8(USART1);
    if (rxindex < PACK_SZ)
    {
      rxbuff[rxindex++] = data;
      if ((data == '\n') || (rxindex == PACK_SZ))
      {
        rxbuff[rxindex] = '\0';
        strcpy(cmdbuf, rxbuff);
        flag_cmd = 1;
        rxindex = 0;
        rxbuff[0] = '\0';
      }
    }
  }

  if (LL_USART_IsEnabledIT_TXE(USART1) &&
        LL_USART_IsActiveFlag_TXE(USART1))
  {
    LL_USART_DisableIT_TXE(USART1);
  }
}

// ADC
void adc_dma_set(void)
{
  adc_scan_complete = 0;
  LL_DMA_DisableChannel(DMA1, LL_DMA_CHANNEL_1);

  LL_DMA_SetDataTransferDirection(DMA1, LL_DMA_CHANNEL_1, LL_DMA_DIRECTION_PERIPH_TO_MEMORY);
  LL_DMA_SetChannelPriorityLevel(DMA1, LL_DMA_CHANNEL_1, LL_DMA_PRIORITY_LOW);
  LL_DMA_SetMode(DMA1, LL_DMA_CHANNEL_1, LL_DMA_MODE_NORMAL);
  LL_DMA_SetPeriphIncMode(DMA1, LL_DMA_CHANNEL_1, LL_DMA_PERIPH_NOINCREMENT);
  LL_DMA_SetMemoryIncMode(DMA1, LL_DMA_CHANNEL_1, LL_DMA_MEMORY_INCREMENT);
  LL_DMA_SetPeriphSize(DMA1, LL_DMA_CHANNEL_1, LL_DMA_PDATAALIGN_HALFWORD);
  LL_DMA_SetMemorySize(DMA1, LL_DMA_CHANNEL_1, LL_DMA_MDATAALIGN_HALFWORD);

  LL_ADC_REG_SetSequencerChAdd(ADC1, LL_ADC_CHANNEL_7);
  //LL_ADC_REG_SetSequencerChAdd(ADC1, LL_ADC_CHANNEL_TEMPSENSOR);
  LL_ADC_REG_SetSequencerChAdd(ADC1, LL_ADC_CHANNEL_VREFINT);
  LL_ADC_SetCommonPathInternalCh(__LL_ADC_COMMON_INSTANCE(ADC1), LL_ADC_PATH_INTERNAL_VREFINT);
  //LL_ADC_SetCommonPathInternalCh(__LL_ADC_COMMON_INSTANCE(ADC1),
  //          LL_ADC_PATH_INTERNAL_VREFINT|LL_ADC_PATH_INTERNAL_TEMPSENSOR);

    //dma_set_peripheral_address(DMA1, DMA_CHANNEL1, (uint32_t)&ADC1_DR);
  LL_DMA_SetPeriphAddress(DMA1, LL_DMA_CHANNEL_1, (uint32_t)&ADC1->DR);
    //dma_set_memory_address(DMA1, DMA_CHANNEL1, (uint32_t)adc_buff);
  LL_DMA_SetMemoryAddress(DMA1, LL_DMA_CHANNEL_1, (uint32_t)adc_buff);
  LL_DMA_SetDataLength(DMA1, LL_DMA_CHANNEL_1, 2);

  LL_ADC_REG_SetSequencerScanDirection(ADC1, LL_ADC_REG_SEQ_SCAN_DIR_FORWARD);
  LL_ADC_SetSamplingTimeCommonChannels(ADC1, LL_ADC_SAMPLINGTIME_71CYCLES_5);

  LL_DMA_EnableChannel(DMA1, LL_DMA_CHANNEL_1);
    //dma_enable_transfer_complete_interrupt(DMA1, DMA_CHANNEL1);
  LL_DMA_EnableIT_TC(DMA1, LL_DMA_CHANNEL_1);
    //dma_enable_transfer_error_interrupt(DMA1, DMA_CHANNEL1);
  LL_DMA_EnableIT_TE(DMA1, LL_DMA_CHANNEL_1);

  NVIC_EnableIRQ(DMA1_Channel1_IRQn);
}

void dma1_channel1_callback(void)
{
  if (LL_DMA_IsActiveFlag_TC1(DMA1)) // Tranfer complete flag
  {
    LL_DMA_ClearFlag_TC1(DMA1);
    // сканирование каналов закончено
  }

  if (LL_DMA_IsActiveFlag_TE1(DMA1)) // Tranfer error flag
  {
    LL_DMA_ClearFlag_TE1(DMA1);
  }

  adc_scan_complete = 1;
}

void exti1_isr_callback(void)
{

  if (LL_GPIO_IsInputPinSet(STAT_GPIO_Port, STAT_Pin)) // __|
  {
    ble_connected = 1;
    NVIC_EnableIRQ(USART1_IRQn);
    LL_USART_EnableIT_RXNE(USART1);
  }
  else                                // |__
  {
    ble_connected = 0;
    LL_USART_DisableIT_RXNE(USART1);
    NVIC_DisableIRQ(USART1_IRQn);
  }
}

void exti0_isr_callback(void)
{
  if (LL_GPIO_IsInputPinSet(PWM_IN_GPIO_Port, PWM_IN_Pin))
  {
    pwm_count++;
  }
}

// ============================================================
uint8_t make_pack(uint8_t pack_num)
{
  if (pack_num >= NUM_STAT_PACKS)
  {
    return 1;
  }

  strcpy(info_pack[pack_num], itoa_m0(pack_num, 10, 1));
  strcat(info_pack[pack_num], c_delim);

  switch (pack_num)
  {
    case 0: // "0:M:UD:HHmmSS:VVVV\n"
      // режим, delta_on, delta_off, тек. время, VREFINT_CAL
      strcat(info_pack[pack_num], itoa_m0(dev_settings.mode, 10, 1));
      strcat(info_pack[pack_num], c_delim);
      strcat(info_pack[pack_num], itoa_m0(dev_settings.delta_on, 10, 1));
      strcat(info_pack[pack_num], itoa_m0(dev_settings.delta_off, 10, 1));
      strcat(info_pack[pack_num], c_delim);
      strcat(info_pack[pack_num], RTC_get_time_to_str());
      strcat(info_pack[pack_num], c_delim);
      strcat(info_pack[pack_num], itoa_m0((*VREFINT_CAL_ADDR), 10, 4));
      break;
    case 1: // "1:IIii:HHMM:hhmm\n"
      strcat(info_pack[pack_num], itoa_m0(dev_settings.interval_h, 10, 2));
      strcat(info_pack[pack_num], itoa_m0(dev_settings.interval_m, 10, 2));
      strcat(info_pack[pack_num], c_delim);
      strcat(info_pack[pack_num], itoa_m0(dev_settings.hour_off_begin, 10, 2));
      strcat(info_pack[pack_num], itoa_m0(dev_settings.minute_off_begin, 10, 2));
      strcat(info_pack[pack_num], c_delim);
      strcat(info_pack[pack_num], itoa_m0(dev_settings.hour_off_end, 10, 2));
      strcat(info_pack[pack_num], itoa_m0(dev_settings.minute_off_end, 10, 2));
      break;
    case 2: // "2:MM.mm:XX.xx:AA.aa\n"
      //    - температуры (.mm, .xx, .aa - десятичная часть, надо умножить на 0.25;)
      strcat(info_pack[pack_num], itoa_m0(dev_state.celsius_main, 10, 2));
      strcat(info_pack[pack_num], c_dot);
      strcat(info_pack[pack_num], itoa_m0(calc_temp_frac(dev_state.frac_main), 10, 2));
      strcat(info_pack[pack_num], c_delim);
      strcat(info_pack[pack_num], itoa_m0(dev_state.celsius_aux, 10, 2));
      strcat(info_pack[pack_num], c_dot);
      strcat(info_pack[pack_num], itoa_m0(calc_temp_frac(dev_state.frac_aux), 10, 2));
      strcat(info_pack[pack_num], c_delim);
      strcat(info_pack[pack_num], itoa_m0(dev_state.celsius_air, 10, 2));
      strcat(info_pack[pack_num], c_dot);
      strcat(info_pack[pack_num], itoa_m0(calc_temp_frac(dev_state.frac_air), 10, 2));
      break;
    case 3: // "3:VVVV:PPP:L:SS:DDD\n"
      strcat(info_pack[pack_num], itoa_m0(dev_state.vref_data, 10, 4));
      strcat(info_pack[pack_num], c_delim);
      strcat(info_pack[pack_num], itoa_m0(dev_state.pressure, 10, 3));
      strcat(info_pack[pack_num], c_delim);
      strcat(info_pack[pack_num], itoa_m0(dev_settings.pump_lock, 10, 1));
      strcat(info_pack[pack_num], c_delim);
      strcat(info_pack[pack_num], itoa_m0(dev_state.state, 16, 2));
      strcat(info_pack[pack_num], c_delim);
      strcat(info_pack[pack_num], itoa_m0(dev_settings.prescaler, 10, 3));
      break;
    case 4: // "4:P:HHMMSS:ME:XE:AE\n"
      strcat(info_pack[pack_num], itoa_m0(dev_state.pump, 10, 1));
      strcat(info_pack[pack_num], c_delim);
      strcat(info_pack[pack_num], itoa_m0(dev_state.hour_last_start, 10, 2));
      strcat(info_pack[pack_num], itoa_m0(dev_state.minute_last_start, 10, 2));
      strcat(info_pack[pack_num], itoa_m0(dev_state.second_last_start, 10, 2));
      strcat(info_pack[pack_num], c_delim);
      strcat(info_pack[pack_num], itoa_m0(dev_state.err_summ_main, 10, 2));
      strcat(info_pack[pack_num], c_delim);
      strcat(info_pack[pack_num], itoa_m0(dev_state.err_summ_aux, 10, 2));
      strcat(info_pack[pack_num], c_delim);
      strcat(info_pack[pack_num], itoa_m0(dev_state.err_summ_air, 10, 2));
      break;
  }

  strcat(info_pack[pack_num], c_lf);
  return 0;
}

void delay_us(uint16_t duration)
{
    LL_TIM_SetCounter(TIM16, 0);
    //timer_set_period(TIM16, 0xffff);  // ARR
    LL_TIM_EnableCounter(TIM16);
    uint16_t t = 0;
    while (t < duration)
    {
        t = (uint16_t)LL_TIM_GetCounter(TIM16);
    }
    LL_TIM_DisableCounter(TIM16);
}

void delay(uint64_t duration) {
    const uint64_t until = millis() + duration;
    while (millis() < until) { }
}

// itoa_m с добавлением ведущих нулей до len
char * itoa_m0(int val, int base, int len)
{
  static char buf[32] = {0};

  int i = 30;
  unsigned int uval = abs(val);

  for(; uval && i ; --i, uval /= base)
  {
    buf[i] = "0123456789abcdef"[uval % base];
  }
  int ll = 30 - i;
  if (ll == 0)
  {
    buf[i--] = '0';
    ll = 1;
  }
  for (int n = 0; n < (len - ll); n++)
  {
    buf[i--] = '0';
  }
  if (val < 0)
  {
    if (buf[i + 1] == '0')
    {
      i++;
    }
    buf[i] = '-';
    i--;
  }
  return &buf[i+1];
}

// вычисляем среднее значение измеѸений с отбрасыванием min и max
// количество измерений plen не должно быть меньше 4
uint16_t calc_mid(uint16_t * par, uint8_t plen)
{
    uint8_t imin = 0;
    uint8_t imax = 0;
    uint16_t resmid = 0;

    for (uint8_t i = 1; i < plen; i++)
    {
        if (par[i] >= par[imax])
        {
            imax = i;
        }

        if (par[i] < par[imin])
        {
            imin = i;
        }
    }
    for (uint8_t i = 0; i < plen; i++)
    {
        if ((i != imin) && (i != imax))
        {
            resmid += par[i];
        }
    }

    return (resmid / (plen - 2));
}

uint8_t calc_temp_frac(uint8_t frac)
{
  uint16_t tmp = (frac >> 2); // 0, 4, 8, 12 > 0, 1, 2, 3
  tmp = tmp * 100 / 4;
  return (uint8_t)tmp;
}

void led_blink(uint8_t cnt)
{
  for (uint8_t i = 0; i < cnt; i++)
  {
    LL_GPIO_SetOutputPin(LED_GPIO_Port, LED_Pin);
    delay(200);
    LL_GPIO_ResetOutputPin(LED_GPIO_Port, LED_Pin);
    delay(200);
  }
}

void test_output(void)
{
  strcpy(cmdbuf, itoa_m0(sens.celsius, 10, 1));
  strcat(cmdbuf, ", ");
  strcat(cmdbuf, itoa_m0(sens.frac, 10, 1));
  strcat(cmdbuf, ", ");
  strcat(cmdbuf, itoa_m0(sens.tH, 10, 1));
  strcat(cmdbuf, ", ");
  strcat(cmdbuf, itoa_m0(sens.tL, 10, 1));
  strcat(cmdbuf, ", ");
  strcat(cmdbuf, itoa_m0(sens.config, 16, 1));
  strcat(cmdbuf, ", ");
  strcat(cmdbuf, itoa_m0(sens.res_0xff, 16, 1));
  strcat(cmdbuf, ", ");
  strcat(cmdbuf, itoa_m0(sens.res_none, 16, 1));
  strcat(cmdbuf, ", ");
  strcat(cmdbuf, itoa_m0(sens.res_0x10, 16, 1));
  strcat(cmdbuf, ", ");
  strcat(cmdbuf, itoa_m0(sens.crc, 16, 1));
  strcat(cmdbuf, ", ");
  strcat(cmdbuf, itoa_m0(sens.crc_calc, 16, 1));
  strcat(cmdbuf, "\n");
  while(transmit) {};
  strcpy(sndbuf, cmdbuf);
  usart_dma_send(sndbuf);
}

/* USER CODE END 4 */

void Error_Handler(void)
{
}

/************************ (C) COPYRIGHT STMicroelectronics *****END OF FILE****/
